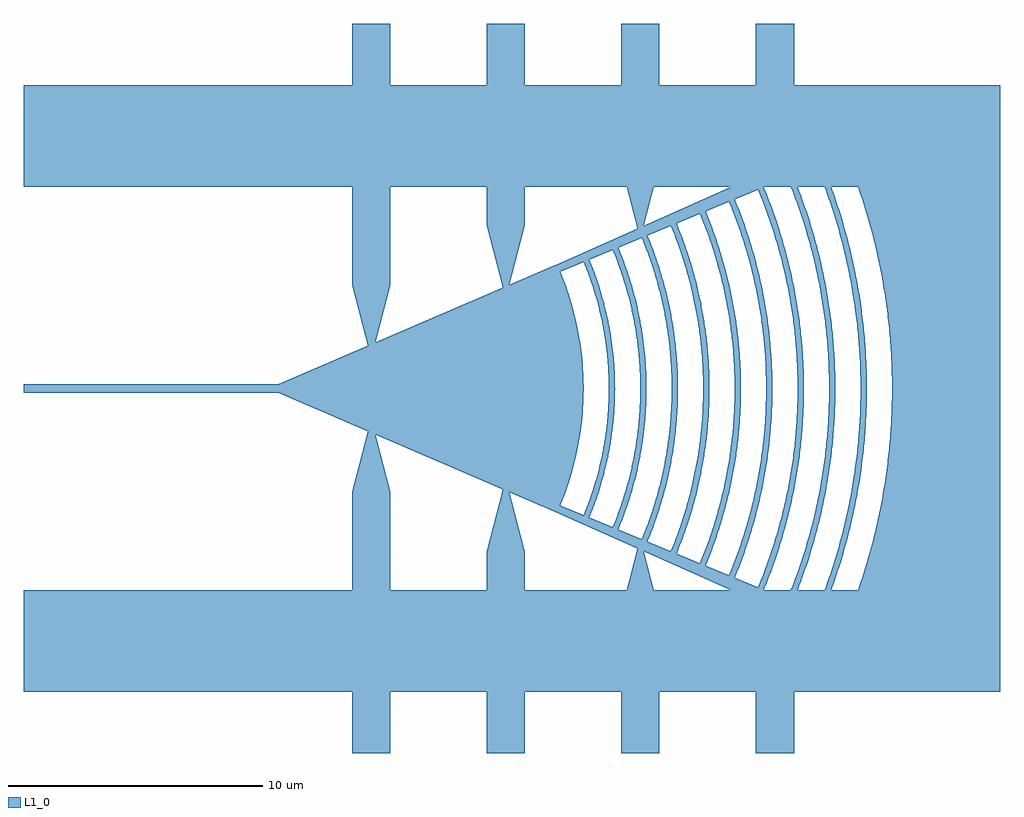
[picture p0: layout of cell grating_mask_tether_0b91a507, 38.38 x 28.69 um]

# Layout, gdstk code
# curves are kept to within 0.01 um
import gdstk
lib = gdstk.Library(unit=1e-6, precision=1e-09)
def R(c, l, rs):  # rectangles x0, y0, x1, y1
    for r in rs: c.add(gdstk.rectangle(r[:2], r[2:], *l))
def P(c, l, *ps):  # polygons
    for p in ps: c.add(gdstk.Polygon(p, *l))
L1_0 = (1, 0)

boolean_ae9146be = lib.new_cell('boolean_ae9146be')
P(boolean_ae9146be, L1_0, [(19.113,-7.852),(19.458,-6.954),(19.795,-5.926),(20.078,-4.882),(20.306,-3.825),(20.462,-2.876),(20.595,-1.681),(20.655,-0.601),(20.658,0.481),(20.595,1.681),(20.494,2.638),(20.306,3.825),(20.078,4.882),(19.896,5.58),(19.689,6.271),(19.458,6.954),(19.159,7.741),(19.08,7.932),(18.818,7.932),(19.19,6.984),(19.494,6.084),(19.756,5.171),(19.975,4.246),(20.17,3.195),(20.297,2.253),(20.387,1.187),(20.416,0.475),(20.416,-0.475),(20.387,-1.187),(20.297,-2.253),(20.17,-3.195),(19.95,-4.362),(19.663,-5.514),(19.494,-6.084),(19.27,-6.761),(18.818,-7.932),(19.08,-7.932)],
  [(20.446,-7.849),(20.749,-7.01),(21.087,-5.914),(21.34,-4.927),(21.546,-3.928),(21.722,-2.796),(21.818,-1.909),(21.883,-0.892),(21.898,0.382),(21.856,1.401),(21.738,2.669),(21.546,3.928),(21.34,4.927),(21.155,5.668),(20.944,6.403),(20.708,7.13),(20.414,7.932),(20.154,7.932),(20.479,7.051),(20.785,6.091),(21.075,4.995),(21.261,4.133),(21.411,3.264),(21.527,2.389),(21.606,1.511),(21.653,0.504),(21.653,-0.504),(21.622,-1.259),(21.553,-2.139),(21.43,-3.139),(21.211,-4.38),(20.921,-5.606),(20.599,-6.693),(20.353,-7.408),(20.154,-7.932),(20.414,-7.932)],
  [(21.743,-7.914),(22.088,-6.894),(22.35,-5.989),(22.633,-4.811),(22.81,-3.885),(22.966,-2.82),(23.062,-1.882),(23.129,-0.673),(23.135,0.404),(23.091,1.48),(22.982,2.686),(22.832,3.753),(22.633,4.811),(22.451,5.598),(22.242,6.378),(22.006,7.15),(21.743,7.914),(21.736,7.932),(21.478,7.932),(21.776,7.075),(22.046,6.183),(22.279,5.28),(22.501,4.238),(22.655,3.318),(22.771,2.393),(22.85,1.464),(22.893,0.4),(22.893,-0.4),(22.858,-1.331),(22.797,-2.128),(22.692,-3.055),(22.476,-4.369),(22.184,-5.668),(21.817,-6.948),(21.478,-7.932),(21.736,-7.932)],
  [(22.819,7.857),(23.12,6.922),(23.417,5.839),(23.663,4.743),(23.837,3.775),(23.971,2.802),(24.065,1.824),(24.124,0.702),(24.134,-0.14),(24.108,-1.123),(24.042,-2.103),(23.937,-3.081),(23.791,-4.052),(23.577,-5.155),(23.383,-5.975),(23.12,-6.922),(22.793,-7.932),(24.376,-7.932),(24.376,7.932),(22.793,7.932)],
  [(17.792,-7.798),(18.176,-6.856),(18.475,-6.003),(18.764,-5.028),(19.001,-4.039),(19.204,-2.927),(19.331,-1.918),(19.405,-0.904),(19.426,0),(19.405,0.904),(19.331,1.918),(19.204,2.927),(19.001,4.039),(18.764,5.028),(18.475,6.003),(18.095,7.067),(17.746,7.901),(17.525,7.803),(17.949,6.77),(18.279,5.822),(18.614,4.641),(18.852,3.551),(18.997,2.67),(19.111,1.672),(19.168,0.781),(19.184,0),(19.168,-0.781),(19.111,-1.672),(19.027,-2.449),(18.892,-3.331),(18.692,-4.315),(18.378,-5.502),(18.027,-6.561),(17.745,-7.29),(17.525,-7.803),(17.746,-7.901)],
  [(16.658,-7.301),(17.018,-6.419),(17.298,-5.62),(17.541,-4.809),(17.791,-3.782),(17.964,-2.845),(18.099,-1.796),(18.173,-0.741),(18.188,0.106),(18.151,1.163),(18.077,2.006),(17.964,2.845),(17.791,3.782),(17.541,4.809),(17.298,5.62),(17.018,6.419),(16.616,7.398),(16.394,7.299),(16.828,6.236),(17.162,5.247),(17.438,4.24),(17.655,3.219),(17.786,2.394),(17.878,1.564),(17.927,0.835),(17.946,0.104),(17.927,-0.835),(17.878,-1.564),(17.786,-2.394),(17.691,-3.013),(17.462,-4.139),(17.162,-5.247),(16.828,-6.236),(16.394,-7.299),(16.616,-7.398)],
  [(15.525,-6.804),(15.86,-5.982),(16.181,-5.05),(16.423,-4.196),(16.6,-3.428),(16.757,-2.554),(16.868,-1.674),(16.932,-0.789),(16.95,0.099),(16.922,0.986),(16.858,1.772),(16.742,2.652),(16.58,3.524),(16.373,4.387),(16.121,5.238),(15.825,6.075),(15.485,6.894),(15.264,6.796),(15.599,5.988),(15.95,4.978),(16.212,4.042),(16.42,3.093),(16.546,2.325),(16.627,1.65),(16.68,0.971),(16.708,0.097),(16.695,-0.68),(16.627,-1.65),(16.518,-2.518),(16.363,-3.379),(16.164,-4.231),(15.891,-5.163),(15.599,-5.988),(15.264,-6.796),(15.485,-6.894)],
  [(14.391,-6.307),(14.702,-5.546),(14.972,-4.769),(15.224,-3.89),(15.388,-3.177),(15.505,-2.548),(15.627,-1.642),(15.696,-0.731),(15.713,0),(15.696,0.731),(15.627,1.642),(15.505,2.548),(15.369,3.267),(15.154,4.155),(14.944,4.856),(14.702,5.546),(14.354,6.391),(14.133,6.293),(14.411,5.628),(14.714,4.781),(14.944,4.004),(15.133,3.217),(15.266,2.509),(15.386,1.617),(15.445,0.9),(15.471,0.09),(15.454,-0.72),(15.386,-1.617),(15.266,-2.509),(15.133,-3.217),(14.944,-4.004),(14.714,-4.781),(14.411,-5.628),(14.133,-6.293),(14.354,-6.391)],
  [(13.258,-5.811),(13.544,-5.109),(13.767,-4.473),(14.004,-3.665),(14.159,-3.01),(14.284,-2.348),(14.396,-1.513),(14.451,-0.842),(14.475,0.084),(14.451,0.842),(14.387,1.597),(14.284,2.348),(14.159,3.01),(14.004,3.665),(13.767,4.473),(13.544,5.109),(13.224,5.888),(13.003,5.789),(13.288,5.101),(13.511,4.477),(13.727,3.764),(13.905,3.04),(14.045,2.308),(14.137,1.652),(14.204,0.91),(14.233,0.083),(14.218,-0.662),(14.164,-1.405),(14.071,-2.145),(13.956,-2.797),(13.79,-3.524),(13.562,-4.319),(13.288,-5.101),(13.003,-5.789),(13.224,-5.888)],
  [(12.124,-5.314),(12.386,-4.672),(12.59,-4.091),(12.806,-3.352),(12.964,-2.677),(13.075,-2.071),(13.173,-1.307),(13.227,-0.539),(13.238,0),(13.211,0.847),(13.157,1.46),(13.075,2.071),(12.932,2.828),(12.746,3.575),(12.59,4.091),(12.331,4.816),(12.093,5.384),(11.872,5.286),(12.105,4.728),(12.36,4.016),(12.553,3.364),(12.696,2.776),(12.824,2.108),(12.908,1.509),(12.974,0.756),(12.995,0.151),(12.985,-0.529),(12.932,-1.283),(12.836,-2.033),(12.712,-2.702),(12.553,-3.364),(12.36,-4.016),(12.105,-4.728),(11.872,-5.286),(12.093,-5.384)],
  [(-10,-0.175),(0,-0.175),(10.963,-4.881),(11.203,-4.3),(11.413,-3.708),(11.564,-3.207),(11.738,-2.495),(11.868,-1.774),(11.945,-1.15),(11.989,-0.523),(12,0.105),(11.978,0.733),(11.923,1.358),(11.818,2.084),(11.716,2.597),(11.564,3.207),(11.413,3.708),(11.203,4.3),(10.963,4.881),(0,0.175),(-10,0.175)])

ring_59177681_transform_ = lib.new_cell('ring_59177681_transform_831c825a')
P(ring_59177681_transform_, L1_0, [(22.269,-9.224),(0,0),(22.269,-9.915)],
  [(22.269,-9.914),(22.52,-9.331),(22.269,-9.224)])

c_ring_59177681_transform_ = lib.new_cell('ring_59177681_transform_6f518bc2')
P(c_ring_59177681_transform_, L1_0, [(22.269,9.224),(22.269,9.915),(0,0)],
  [(22.52,9.328),(22.269,9.915),(22.269,9.224)])

c__tether_straight_length_ = lib.new_cell('_tether_straight_length_db810c02')
R(c__tether_straight_length_, L1_0, [(2.904,4.057,4.404,14.345)])
P(c__tether_straight_length_, L1_0, [(3.754,1.557),(4.404,4.057),(2.904,4.057),(3.554,1.557)])

c__tether_straight_length__ = lib.new_cell('_tether_straight_length_3448534c')
R(c__tether_straight_length__, L1_0, [(2.904,-14.345,4.404,-4.057)])
P(c__tether_straight_length__, L1_0, [(3.554,-1.557),(2.904,-4.057),(4.404,-4.057),(3.754,-1.557)])

c__tether_straight_length___ = lib.new_cell('_tether_straight_length_a9b401bf')
R(c__tether_straight_length___, L1_0, [(8.195,6.413,9.695,14.345)])
P(c__tether_straight_length___, L1_0, [(9.045,3.913),(9.695,6.413),(8.195,6.413),(8.845,3.913)])

c__tether_straight_length____ = lib.new_cell('_tether_straight_length_0c83f2e4')
R(c__tether_straight_length____, L1_0, [(8.195,-14.345,9.695,-6.413)])
P(c__tether_straight_length____, L1_0, [(8.845,-3.913),(8.195,-6.413),(9.695,-6.413),(9.045,-3.913)])

c__tether_straight_length_____ = lib.new_cell('_tether_straight_length_638884d0')
R(c__tether_straight_length_____, L1_0, [(13.487,8.769,14.987,14.345)])
P(c__tether_straight_length_____, L1_0, [(14.337,6.269),(14.987,8.769),(13.487,8.769),(14.137,6.269)])

c__tether_straight_length______ = lib.new_cell('_tether_straight_length_d950d40d')
R(c__tether_straight_length______, L1_0, [(13.487,-14.345,14.987,-8.769)])
P(c__tether_straight_length______, L1_0, [(14.137,-6.269),(13.487,-8.769),(14.987,-8.769),(14.337,-6.269)])

c__tether_straight_length_______ = lib.new_cell('_tether_straight_length_4518a215')
R(c__tether_straight_length_______, L1_0, [(18.778,11.124,20.278,14.345)])
P(c__tether_straight_length_______, L1_0, [(19.628,8.624),(20.278,11.124),(18.778,11.124),(19.428,8.624)])

c__tether_straight_length________ = lib.new_cell('_tether_straight_length_f00deb15')
R(c__tether_straight_length________, L1_0, [(18.778,-14.345,20.278,-11.124)])
P(c__tether_straight_length________, L1_0, [(19.428,-8.624),(18.778,-11.124),(20.278,-11.124),(19.628,-8.624)])

section_2skeleton_tethe_ = lib.new_cell('section_2skeleton_tethe_e4e9244d')
section_2skeleton_tethe_.add(gdstk.Reference(ring_59177681_transform_, (0,0)))
section_2skeleton_tethe_.add(gdstk.Reference(c_ring_59177681_transform_, (0,0)))
section_2skeleton_tethe_.add(gdstk.Reference(c__tether_straight_length_, (0,0)))
section_2skeleton_tethe_.add(gdstk.Reference(c__tether_straight_length__, (0,0)))
section_2skeleton_tethe_.add(gdstk.Reference(c__tether_straight_length___, (0,0)))
section_2skeleton_tethe_.add(gdstk.Reference(c__tether_straight_length____, (0,0)))
section_2skeleton_tethe_.add(gdstk.Reference(c__tether_straight_length_____, (0,0)))
section_2skeleton_tethe_.add(gdstk.Reference(c__tether_straight_length______, (0,0)))
section_2skeleton_tethe_.add(gdstk.Reference(c__tether_straight_length_______, (0,0)))
section_2skeleton_tethe_.add(gdstk.Reference(c__tether_straight_length________, (0,0)))

boolean_3851b89c = lib.new_cell('boolean_3851b89c')
P(boolean_3851b89c, L1_0, [(28.376,-11.932),(28.376,11.932),(-10,11.932),(-10,7.932),(24.376,7.932),(24.376,-7.932),(-10,-7.932),(-10,-11.932)])

grating_mask_tether_0b91 = lib.new_cell('grating_mask_tether_0b91a507')
grating_mask_tether_0b91.add(gdstk.Reference(boolean_ae9146be, (0,0)))
grating_mask_tether_0b91.add(gdstk.Reference(section_2skeleton_tethe_, (0,0)))
grating_mask_tether_0b91.add(gdstk.Reference(boolean_3851b89c, (0,0)))

lib.write_gds('grating_mask_tether_0b91a507.gds')
